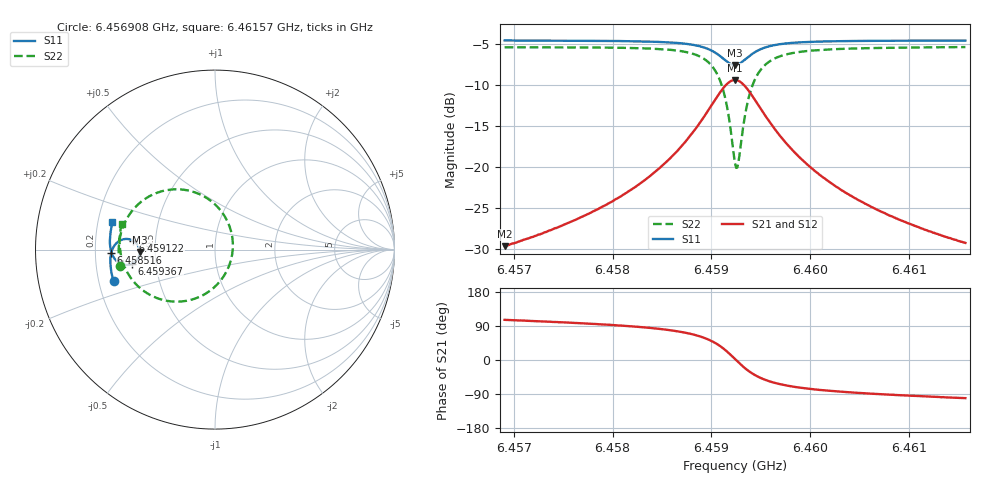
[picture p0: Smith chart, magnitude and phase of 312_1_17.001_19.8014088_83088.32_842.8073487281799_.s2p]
#  HZ  S  RI  R  50.00
! Rohde & Schwarz Vector Network Analyzer
! Rohde-Schwarz,ZNB20-2Port,1311601062101988,3.16
! Created: UTC 3/20/2024, 11:06:03 PM
! freq[Hz]  re:S11  im:S11  re:S21  im:S21  re:S12  im:S12  re:S22  im:S22
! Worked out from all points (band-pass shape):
!   401 points, 6.456908 GHz to 6.46157 GHz, reference 50 ohm
!   highest |S21| = -9.36 dB at 6.459239 GHz (marker M1); lowest = -29.6 dB at 6.456908 GHz (marker M2)
!   |S21| within 3 dB of the highest: 6.459006 GHz to 6.459472 GHz (466 kHz wide, 0.00721 % of centre)
!   lowest |S11| = -7.5 dB at 6.459239 GHz (marker M3), VSWR 2.45, Z = 20.4 - j0.636 ohm
!   |S11| at or under -10 dB: nowhere
!   |S22| runs from -20.1 to -5.4 dB; largest |S21 - S12| = 0.013
!   S11 on the Smith chart (normalised r, x): 6.456908 GHz: 0.26, -0.14; 6.458516 GHz: 0.27, -0.02; 6.459122 GHz: 0.37, +0.05; 6.459367 GHz: 0.37, -0.07; 6.46157 GHz: 0.26, +0.12
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6.4569075e9  -0.5649 -0.1777  -0.00913 0.0318  -0.00738 0.0318  -0.5306 -0.0896
6.4576885e9  -0.5797 -0.1099  -0.00592 0.0496  -0.00339 0.049  -0.537 0.000324
6.4580965e9  -0.583 -0.0693  -0.000769 0.0674  0.00251 0.0661  -0.5306 0.0632
6.4584695e9  -0.5796 -0.0254  0.0133 0.0973  0.0171 0.0946  -0.5052 0.1446
6.4585162e9  -0.5782 -0.019  0.0165 0.1027  0.0206 0.0997  -0.499 0.1577
6.4587376e9  -0.5653 0.0148  0.0444 0.1362  0.0486 0.1314  -0.4471 0.2332
6.4588892e9  -0.543 0.0413  0.089 0.1666  0.0922 0.16  -0.3655 0.2972
6.459029e9  -0.4996 0.0592  0.1749 0.1834  0.1759 0.1759  -0.2091 0.3359
6.4591223e9  -0.4554 0.0494  0.2637 0.153  0.2639 0.1468  -0.0455 0.2872
6.4591689e9  -0.4343 0.0308  0.3069 0.1107  0.3081 0.1053  0.0358 0.2125
6.4592389e9  -0.4197 -0.0128  0.3399 0.0152  0.3433 0.00819  0.0994 0.0362
6.4592505e9  -0.4201 -0.0207  0.3397 -0.00235  0.3433 -0.00989  0.0992 0.00327
6.4592738e9  -0.4235 -0.0362  0.3343 -0.0364  0.3379 -0.0455  0.0882 -0.0611
6.4593321e9  -0.444 -0.067  0.2968 -0.1075  0.298 -0.1197  0.0127 -0.1937
6.4593671e9  -0.4607 -0.0781  0.265 -0.1362  0.2641 -0.149  -0.0513 -0.245
6.4594603e9  -0.5036 -0.0847  0.1818 -0.1669  0.1756 -0.1781  -0.2161 -0.2902
6.4596119e9  -0.5468 -0.0644  0.0953 -0.1536  0.087 -0.1596  -0.3799 -0.242
6.4597751e9  -0.5684 -0.037  0.0511 -0.1264  0.0435 -0.129  -0.4589 -0.1714
6.4600198e9  -0.5811 -0.00124  0.0224 -0.0956  0.0166 -0.096  -0.506 -0.0905
6.4603929e9  -0.5857 0.0424  0.00577 -0.0679  0.00188 -0.0674  -0.5278 -0.00804
6.4608008e9  -0.5839 0.0831  -0.00133 -0.0509  -0.00408 -0.0501  -0.5314 0.0554
6.4615702e9  -0.5715 0.151  -0.0064 -0.0341  -0.00815 -0.0331  -0.5199 0.1449
